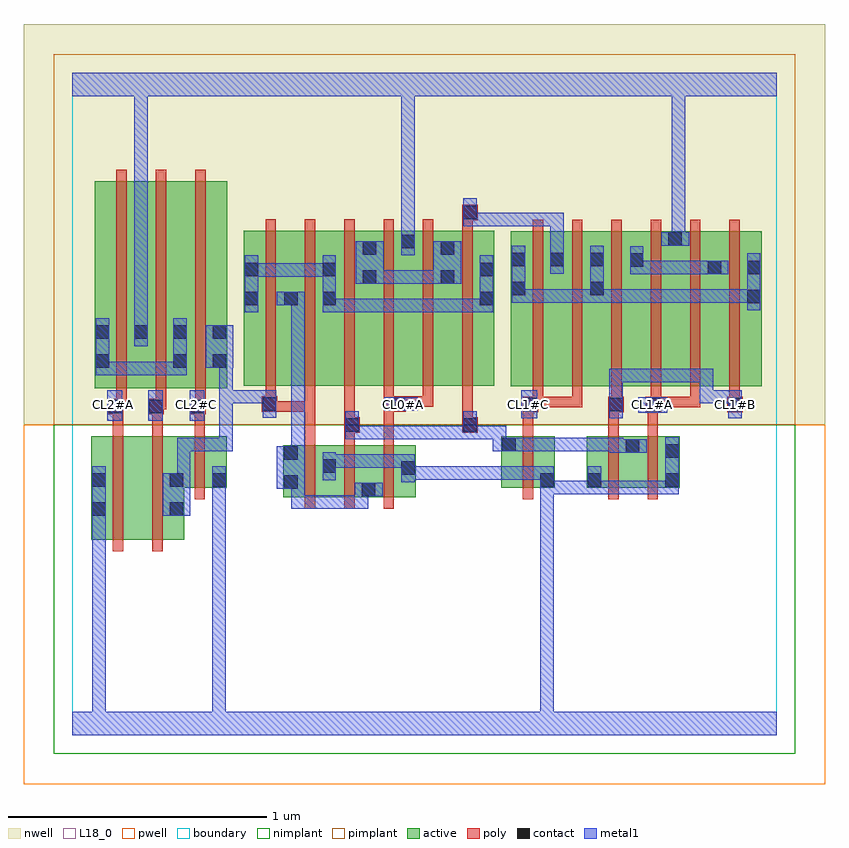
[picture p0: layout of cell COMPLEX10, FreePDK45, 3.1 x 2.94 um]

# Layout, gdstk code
import gdstk
lib = gdstk.Library(unit=1e-6, precision=1e-09)
def R(c, l, rs):  # rectangles x0, y0, x1, y1
    for r in rs: c.add(gdstk.rectangle(r[:2], r[2:], *l))
def A(c, l, x, y, w, h, nx, ny, dx, dy):  # array of equal rectangles
    R(c, l, [(x+i*dx, y+j*dy, x+i*dx+w, y+j*dy+h) for i in range(nx) for j in range(ny)])
active = (1, 0)
pwell = (2, 0)
nwell = (3, 0)
nimplant = (4, 0)
pimplant = (5, 0)
poly = (9, 0)
contact = (10, 0)
metal1 = (11, 0)
L18_0 = (18, 0)
boundary = (235, 0)

complex10 = lib.new_cell('COMPLEX10')
A(complex10, active, 0.234, 1.34, 0.06, 0.704, 3, 1, 0.152, 0)
R(complex10, active, [(0.072,0.756,0.132,1.156), (0.072,0.756,0.252,1.156), (0.252,0.756,0.432,1.156), (0.372,0.756,0.432,1.156), (0.814,0.92,0.874,1.12), (0.814,0.92,1.022,1.12), (0.962,0.92,1.174,1.12), (1.114,0.92,1.326,1.12), (1.114,0.92,1.174,0.98), (1.266,0.92,1.326,1.12), (0.372,0.956,0.596,1.156), (0.536,0.956,0.596,1.156), (0.962,0.956,1.022,1.12), (1.656,0.956,1.716,1.156), (1.656,0.956,1.864,1.156), (1.804,0.956,1.864,1.156), (1.986,0.956,2.046,1.156), (1.986,0.956,2.194,1.156), (2.134,0.956,2.194,1.156), (2.134,0.956,2.346,1.156), (2.286,0.956,2.346,1.156), (0.086,1.34,0.146,2.044), (0.086,1.34,0.294,2.14), (0.234,1.34,0.446,2.14), (0.386,1.34,0.598,2.14), (1.694,1.348,1.902,1.948), (1.694,1.348,1.754,1.868), (1.842,1.348,2.056,1.948), (1.842,1.348,1.902,1.868), (1.996,1.348,2.21,1.948), (1.996,1.348,2.056,1.868), (2.15,1.348,2.358,1.948), (2.15,1.348,2.21,1.866), (2.298,1.348,2.51,1.948), (2.45,1.348,2.662,1.948), (2.45,1.348,2.51,1.948), (2.602,1.348,2.662,1.844), (0.662,1.35,0.874,1.95), (0.662,1.35,0.722,1.95), (0.814,1.35,1.022,1.95), (0.814,1.35,0.874,1.844), (0.962,1.35,1.022,1.844), (0.962,1.35,1.178,1.95), (1.118,1.35,1.178,1.95), (1.118,1.35,1.326,1.95), (1.266,1.35,1.478,1.95), (1.418,1.35,1.63,1.95), (1.418,1.35,1.478,1.95), (1.57,1.35,1.63,1.844), (1.266,1.878,1.326,1.95), (2.298,1.886,2.358,1.948)])
R(complex10, pwell, [(-0.188,-0.188,2.908,1.2)])
R(complex10, nwell, [(-0.188,1.2,2.908,2.748)])
R(complex10, nimplant, [(-0.072,-0.072,2.792,1.2)])
R(complex10, pimplant, [(-0.072,1.2,2.792,2.632)])
A(complex10, poly, 0.898, 0.876, 0.04, 0.288, 3, 1, 0.152, 0)
A(complex10, poly, 0.17, 1.26, 0.04, 0.076, 3, 1, 0.152, 0)
A(complex10, poly, 1.778, 1.268, 0.04, 0.076, 6, 1, 0.152, 0)
A(complex10, poly, 0.17, 1.296, 0.04, 0.888, 3, 1, 0.152, 0)
A(complex10, poly, 1.778, 1.304, 0.04, 0.688, 6, 1, 0.152, 0)
A(complex10, poly, 0.746, 1.306, 0.04, 0.688, 6, 1, 0.152, 0)
R(complex10, poly, [(0.156,0.712,0.196,1.2), (0.308,0.712,0.348,1.2), (0.472,0.912,0.512,1.2), (1.74,0.912,1.78,1.2), (2.07,0.912,2.11,1.2), (2.222,0.912,2.262,1.2), (0.898,1.124,0.938,1.29), (1.05,1.124,1.09,1.208), (1.202,1.124,1.242,1.29), (0.156,1.16,0.196,1.28), (0.308,1.16,0.348,1.28), (0.472,1.16,0.512,1.28), (1.74,1.16,1.78,1.288), (2.07,1.16,2.11,1.288), (2.222,1.16,2.262,1.288), (1.05,1.168,1.11,1.228), (1.506,1.168,1.566,1.228), (1.05,1.188,1.09,1.228), (1.05,1.188,1.09,1.228), (1.05,1.188,1.09,1.346), (1.506,1.188,1.546,1.228), (1.506,1.188,1.546,1.228), (1.506,1.188,1.546,1.346), (0.136,1.24,0.196,1.3), (0.292,1.24,0.352,1.3), (0.454,1.24,0.514,1.3), (0.472,1.24,0.512,1.28), (0.472,1.24,0.512,1.28), (1.74,1.248,1.8,1.308), (2.07,1.248,2.13,1.308), (2.07,1.248,2.11,1.288), (2.07,1.248,2.11,1.288), (2.214,1.248,2.274,1.308), (2.53,1.248,2.59,1.308), (0.732,1.25,0.792,1.31), (0.752,1.25,0.792,1.29), (0.752,1.25,0.792,1.29), (0.752,1.25,0.938,1.29), (0.898,1.25,0.938,1.29), (0.898,1.25,0.938,1.29), (0.898,1.25,0.938,1.29), (0.898,1.25,0.938,1.346), (1.202,1.25,1.242,1.29), (1.202,1.25,1.242,1.29), (1.202,1.25,1.288,1.31), (0.156,1.26,0.196,1.3), (0.156,1.26,0.21,1.3), (0.312,1.26,0.352,1.3), (0.312,1.26,0.362,1.3), (1.76,1.268,1.8,1.308), (1.76,1.268,1.818,1.308), (1.778,1.268,1.97,1.308), (1.93,1.268,1.97,1.308), (1.93,1.268,1.97,1.308), (1.93,1.268,1.97,1.308), (2.234,1.268,2.274,1.308), (2.234,1.268,2.274,1.308), (2.234,1.268,2.426,1.308), (2.386,1.268,2.426,1.308), (2.386,1.268,2.426,1.308), (2.386,1.268,2.426,1.308), (0.746,1.27,0.786,1.346), (1.202,1.27,1.242,1.346), (1.248,1.27,1.288,1.31), (1.248,1.27,1.288,1.31), (1.248,1.27,1.394,1.31), (1.354,1.27,1.394,1.346), (1.354,1.27,1.394,1.31), (1.506,1.954,1.546,2.03), (1.506,1.99,1.566,2.05)])
A(complex10, contact, 0.238, 1.532, 0.052, 0.052, 3, 1, 0.152, 0)
R(complex10, contact, [(0.076,0.848,0.128,0.9), (0.376,0.848,0.428,0.9), (1.118,0.924,1.17,0.976), (0.818,0.952,0.87,1.004), (0.076,0.96,0.128,1.012), (0.376,0.96,0.428,1.012), (0.54,0.96,0.592,1.012), (1.808,0.96,1.86,1.012), (1.99,0.96,2.042,1.012), (2.29,0.96,2.342,1.012), (1.27,1.006,1.322,1.058), (0.966,1.014,1.018,1.066), (0.818,1.064,0.87,1.116), (2.29,1.072,2.342,1.124), (2.138,1.092,2.19,1.144), (1.66,1.098,1.712,1.15), (1.054,1.172,1.106,1.224), (1.51,1.172,1.562,1.224), (0.14,1.244,0.192,1.296), (0.296,1.244,0.348,1.296), (0.458,1.244,0.51,1.296), (1.744,1.252,1.796,1.304), (2.074,1.252,2.126,1.304), (2.218,1.252,2.27,1.304), (2.534,1.252,2.586,1.304), (0.736,1.254,0.788,1.306), (1.232,1.254,1.284,1.306), (0.09,1.42,0.142,1.472), (0.39,1.42,0.442,1.472), (0.542,1.42,0.594,1.472), (0.09,1.532,0.142,1.584), (0.666,1.662,0.718,1.714), (0.818,1.662,0.87,1.714), (0.966,1.662,1.018,1.714), (1.574,1.662,1.626,1.714), (2.606,1.67,2.658,1.722), (1.698,1.7,1.75,1.752), (2,1.7,2.052,1.752), (1.122,1.744,1.174,1.796), (1.422,1.744,1.474,1.796), (0.666,1.774,0.718,1.826), (0.966,1.774,1.018,1.826), (1.574,1.774,1.626,1.826), (2.454,1.782,2.506,1.834), (2.606,1.782,2.658,1.834), (2.154,1.81,2.206,1.862), (1.698,1.812,1.75,1.864), (1.846,1.812,1.898,1.864), (2,1.812,2.052,1.864), (1.122,1.856,1.174,1.908), (1.422,1.856,1.474,1.908), (1.27,1.882,1.322,1.934), (2.302,1.892,2.354,1.944), (1.51,1.994,1.562,2.046)])
R(complex10, metal1, [(0,0,2.72,0.092), (0.076,0.04,0.128,0.092), (0.076,0.04,0.128,0.092), (0.076,0.04,0.128,0.092), (0.076,0.04,0.128,0.092), (0.076,0.04,0.128,0.092), (0.076,0.04,0.128,0.092), (0.076,0.04,0.128,0.872), (0.54,0.04,0.592,0.092), (0.54,0.04,0.592,0.092), (0.54,0.04,0.592,0.092), (0.54,0.04,0.592,0.092), (0.54,0.04,0.592,0.092), (0.54,0.04,0.592,0.092), (0.54,0.04,0.592,0.092), (0.54,0.04,0.592,0.092), (0.54,0.04,0.592,0.092), (0.54,0.04,0.592,0.092), (0.54,0.04,0.592,0.092), (0.54,0.04,0.592,0.092), (0.54,0.04,0.592,0.092), (0.54,0.04,0.592,0.092), (0.54,0.04,0.592,0.092), (0.54,0.04,0.592,0.092), (0.54,0.04,0.592,0.984), (1.808,0.04,1.86,0.092), (1.808,0.04,1.86,0.092), (1.808,0.04,1.86,0.984), (0.076,0.82,0.128,0.872), (0.076,0.82,0.128,0.872), (0.076,0.82,0.128,0.872), (0.076,0.82,0.128,0.872), (0.076,0.82,0.128,0.872), (0.076,0.82,0.128,0.872), (0.076,0.82,0.128,1.04), (0.348,0.848,0.456,1.012), (0.846,0.876,0.898,0.928), (0.846,0.876,0.898,0.928), (0.846,0.876,0.898,0.928), (0.846,0.876,1.032,0.928), (0.846,0.876,0.898,1.004), (0.98,0.876,1.032,0.928), (0.98,0.876,1.142,0.928), (1.09,0.876,1.142,0.976), (1.09,0.924,1.142,0.976), (1.09,0.924,1.198,0.976), (0.54,0.932,0.592,1.04), (1.808,0.932,1.86,0.984), (1.808,0.932,1.86,0.984), (1.808,0.932,1.86,0.984), (1.808,0.932,1.86,0.984), (1.808,0.932,1.86,0.984), (1.808,0.932,1.86,0.984), (1.808,0.932,1.86,0.984), (1.808,0.932,1.86,0.984), (1.808,0.932,1.86,0.984), (1.808,0.932,1.86,0.984), (1.808,0.932,1.86,0.984), (1.808,0.932,1.86,0.984), (1.808,0.932,1.86,0.984), (1.808,0.932,1.86,0.984), (1.808,0.932,1.86,1.04), (1.808,0.932,1.932,0.984), (1.88,0.932,1.932,0.984), (1.88,0.932,2.042,0.984), (1.99,0.932,2.042,0.984), (1.99,0.932,2.042,0.984), (1.99,0.932,2.042,1.04), (1.99,0.932,2.162,0.984), (2.11,0.932,2.162,0.984), (2.11,0.932,2.342,0.984), (2.29,0.932,2.342,0.984), (2.29,0.932,2.342,0.984), (2.29,0.932,2.342,1.152), (0.79,0.952,0.898,1.116), (0.404,0.96,0.456,1.15), (1.27,0.978,1.322,1.086), (0.966,0.986,1.018,1.094), (1.27,0.988,1.452,1.04), (1.4,0.988,1.452,1.04), (1.4,0.988,1.452,1.04), (1.4,0.988,1.452,1.04), (1.4,0.988,1.566,1.04), (1.514,0.988,1.566,1.04), (1.514,0.988,1.566,1.04), (1.514,0.988,1.566,1.04), (1.514,0.988,1.566,1.04), (1.514,0.988,1.566,1.04), (1.514,0.988,1.75,1.04), (1.698,0.988,1.75,1.04), (1.698,0.988,1.75,1.04), (1.698,0.988,1.75,1.04), (1.698,0.988,1.86,1.04), (0.966,1.034,1.018,1.086), (0.966,1.034,1.018,1.086), (0.966,1.034,1.212,1.086), (1.16,1.034,1.212,1.086), (1.16,1.034,1.322,1.086), (1.27,1.034,1.322,1.086), (1.27,1.034,1.322,1.086), (0.846,1.064,0.898,1.116), (0.846,1.064,0.898,1.116), (0.846,1.064,0.898,1.714), (2.076,1.092,2.162,1.144), (2.076,1.092,2.128,1.15), (2.11,1.092,2.218,1.144), (0.404,1.098,0.456,1.15), (0.404,1.098,0.51,1.15), (0.458,1.098,0.51,1.15), (0.458,1.098,0.62,1.15), (0.568,1.098,0.62,1.15), (0.568,1.098,0.62,1.334), (1.624,1.098,1.676,1.196), (1.624,1.098,1.74,1.15), (1.688,1.098,1.74,1.15), (1.688,1.098,1.74,1.15), (1.688,1.098,1.932,1.15), (1.88,1.098,1.932,1.15), (1.88,1.098,1.932,1.15), (1.88,1.098,1.932,1.15), (1.88,1.098,2.052,1.15), (2,1.098,2.052,1.15), (2,1.098,2.128,1.15), (1.054,1.144,1.106,1.252), (1.054,1.144,1.142,1.196), (1.09,1.144,1.142,1.196), (1.09,1.144,1.322,1.196), (1.27,1.144,1.322,1.196), (1.27,1.144,1.322,1.196), (1.27,1.144,1.322,1.196), (1.27,1.144,1.432,1.196), (1.38,1.144,1.432,1.196), (1.38,1.144,1.432,1.196), (1.38,1.144,1.432,1.196), (1.38,1.144,1.562,1.196), (1.51,1.144,1.562,1.196), (1.51,1.144,1.562,1.196), (1.51,1.144,1.562,1.252), (1.51,1.144,1.676,1.196), (1.624,1.144,1.676,1.196), (0.134,1.216,0.192,1.334), (0.292,1.216,0.348,1.334), (0.454,1.216,0.51,1.334), (1.734,1.224,1.796,1.334), (2.074,1.224,2.126,1.416), (2.534,1.224,2.586,1.334), (0.736,1.226,0.788,1.334), (2.186,1.246,2.298,1.306), (1.204,1.254,1.334,1.306), (0.568,1.282,0.62,1.334), (0.568,1.282,0.62,1.334), (0.568,1.282,0.62,1.334), (0.568,1.282,0.788,1.334), (0.568,1.282,0.62,1.472), (2.424,1.282,2.586,1.334), (2.424,1.282,2.476,1.416), (2.074,1.364,2.162,1.416), (2.11,1.364,2.162,1.416), (2.11,1.364,2.366,1.416), (2.314,1.364,2.366,1.416), (2.314,1.364,2.366,1.416), (2.314,1.364,2.366,1.416), (2.314,1.364,2.476,1.416), (2.424,1.364,2.476,1.416), (2.424,1.364,2.476,1.416), (0.09,1.392,0.142,1.444), (0.09,1.392,0.142,1.444), (0.09,1.392,0.142,1.612), (0.09,1.392,0.29,1.444), (0.238,1.392,0.29,1.444), (0.238,1.392,0.29,1.444), (0.238,1.392,0.29,1.444), (0.238,1.392,0.442,1.444), (0.39,1.392,0.442,1.612), (0.514,1.42,0.622,1.584), (0.238,1.504,0.29,1.612), (0.238,1.56,0.29,1.612), (0.238,1.56,0.29,1.612), (0.238,1.56,0.29,1.612), (0.238,1.56,0.29,1.612), (0.238,1.56,0.29,2.52), (0.666,1.634,0.718,1.854), (0.966,1.634,1.018,1.686), (0.966,1.634,1.018,1.686), (0.966,1.634,1.018,1.686), (0.966,1.634,1.018,1.686), (0.966,1.634,1.018,1.854), (0.966,1.634,1.212,1.686), (1.16,1.634,1.212,1.686), (1.16,1.634,1.322,1.686), (1.27,1.634,1.322,1.686), (1.27,1.634,1.322,1.686), (1.27,1.634,1.322,1.686), (1.27,1.634,1.452,1.686), (1.4,1.634,1.452,1.686), (1.4,1.634,1.452,1.686), (1.4,1.634,1.452,1.686), (1.4,1.634,1.566,1.686), (1.514,1.634,1.566,1.686), (1.514,1.634,1.626,1.686), (1.574,1.634,1.626,1.854), (2.606,1.642,2.658,1.862), (0.79,1.662,0.898,1.714), (0.846,1.662,0.898,1.714), (0.846,1.662,0.898,1.714), (1.698,1.672,1.75,1.724), (1.698,1.672,1.75,1.724), (1.698,1.672,1.75,1.892), (1.698,1.672,1.86,1.724), (1.808,1.672,1.86,1.724), (1.808,1.672,1.86,1.724), (1.808,1.672,1.86,1.724), (1.808,1.672,2.052,1.724), (2,1.672,2.052,1.724), (2,1.672,2.052,1.724), (2,1.672,2.052,1.892), (2,1.672,2.162,1.724), (2.11,1.672,2.162,1.724), (2.11,1.672,2.238,1.724), (2.186,1.672,2.238,1.724), (2.186,1.672,2.366,1.724), (2.314,1.672,2.366,1.724), (2.314,1.672,2.476,1.724), (2.424,1.672,2.476,1.724), (2.424,1.672,2.476,1.724), (2.424,1.672,2.476,1.724), (2.424,1.672,2.658,1.724), (2.606,1.672,2.658,1.724), (2.606,1.672,2.658,1.724), (1.094,1.744,1.202,1.908), (1.15,1.744,1.322,1.796), (1.27,1.744,1.322,1.796), (1.27,1.744,1.322,1.796), (1.27,1.744,1.322,1.796), (1.27,1.744,1.432,1.796), (1.38,1.744,1.432,1.796), (1.38,1.744,1.446,1.796), (1.394,1.744,1.502,1.908), (0.666,1.772,0.732,1.824), (0.68,1.772,0.732,1.824), (0.68,1.772,0.898,1.824), (0.846,1.772,0.898,1.824), (0.846,1.772,0.898,1.824), (0.846,1.772,0.898,1.824), (0.846,1.772,1.018,1.824), (2.154,1.782,2.366,1.834), (2.154,1.782,2.206,1.89), (2.314,1.782,2.366,1.834), (2.314,1.782,2.366,1.834), (2.314,1.782,2.366,1.834), (2.314,1.782,2.476,1.834), (2.424,1.782,2.476,1.834), (2.424,1.782,2.478,1.834), (2.426,1.782,2.534,1.834), (1.846,1.784,1.898,1.892), (1.846,1.84,1.898,2.018), (1.27,1.854,1.322,1.962), (2.274,1.892,2.382,1.944), (2.316,1.892,2.368,2.52), (1.27,1.91,1.322,1.962), (1.27,1.91,1.322,1.962), (1.27,1.91,1.322,1.962), (1.27,1.91,1.322,1.962), (1.27,1.91,1.322,1.962), (1.27,1.91,1.322,1.962), (1.27,1.91,1.322,1.962), (1.27,1.91,1.322,1.962), (1.27,1.91,1.322,1.962), (1.27,1.91,1.322,1.962), (1.27,1.91,1.322,1.962), (1.27,1.91,1.322,1.962), (1.27,1.91,1.322,2.52), (1.51,1.966,1.562,2.018), (1.51,1.966,1.562,2.018), (1.51,1.966,1.562,2.074), (1.51,1.966,1.75,2.018), (1.698,1.966,1.75,2.018), (1.698,1.966,1.75,2.018), (1.698,1.966,1.75,2.018), (1.698,1.966,1.898,2.018), (1.846,1.966,1.898,2.018), (0,2.468,2.72,2.56), (0.238,2.468,0.29,2.52), (0.238,2.468,0.29,2.52), (0.238,2.468,0.29,2.52), (0.238,2.468,0.29,2.52), (2.316,2.468,2.368,2.52), (2.316,2.468,2.368,2.52), (2.316,2.468,2.368,2.52), (2.316,2.468,2.368,2.52), (2.316,2.468,2.368,2.52), (2.316,2.468,2.368,2.52), (2.316,2.468,2.368,2.52), (2.316,2.468,2.368,2.52), (2.316,2.468,2.368,2.52), (2.316,2.468,2.368,2.52), (2.316,2.468,2.368,2.52), (2.316,2.468,2.368,2.52)])
A(complex10, L18_0, 0.134, 1.254, 0.052, 0.052, 3, 1, 0.16, 0)
A(complex10, L18_0, 1.254, 1.254, 0.052, 0.052, 3, 1, 0.48, 0)
R(complex10, L18_0, [(0,0,2.72,0.092), (0.076,0.04,0.128,0.092), (0.076,0.04,0.128,0.092), (0.076,0.04,0.128,0.092), (0.076,0.04,0.128,0.092), (0.076,0.04,0.128,0.092), (0.076,0.04,0.128,0.092), (0.076,0.04,0.128,0.872), (0.54,0.04,0.592,0.092), (0.54,0.04,0.592,0.092), (0.54,0.04,0.592,0.092), (0.54,0.04,0.592,0.092), (0.54,0.04,0.592,0.092), (0.54,0.04,0.592,0.092), (0.54,0.04,0.592,0.092), (0.54,0.04,0.592,0.092), (0.54,0.04,0.592,0.092), (0.54,0.04,0.592,0.092), (0.54,0.04,0.592,0.092), (0.54,0.04,0.592,0.092), (0.54,0.04,0.592,0.092), (0.54,0.04,0.592,0.092), (0.54,0.04,0.592,0.092), (0.54,0.04,0.592,0.092), (0.54,0.04,0.592,0.984), (1.808,0.04,1.86,0.092), (1.808,0.04,1.86,0.092), (1.808,0.04,1.86,0.984), (0.076,0.82,0.128,0.872), (0.076,0.82,0.128,0.872), (0.076,0.82,0.128,0.872), (0.076,0.82,0.128,0.872), (0.076,0.82,0.128,0.872), (0.076,0.82,0.128,0.872), (0.076,0.82,0.128,1.04), (0.54,0.932,0.592,1.04), (1.808,0.932,1.86,0.984), (1.808,0.932,1.86,0.984), (1.808,0.932,1.86,0.984), (1.808,0.932,1.86,0.984), (1.808,0.932,1.86,0.984), (1.808,0.932,1.86,0.984), (1.808,0.932,1.86,0.984), (1.808,0.932,1.86,0.984), (1.808,0.932,1.86,0.984), (1.808,0.932,1.86,0.984), (1.808,0.932,1.86,0.984), (1.808,0.932,1.86,0.984), (1.808,0.932,1.86,0.984), (1.808,0.932,1.86,0.984), (1.808,0.932,1.86,1.04), (1.808,0.932,1.932,0.984), (1.88,0.932,1.932,0.984), (1.88,0.932,2.042,0.984), (1.99,0.932,2.042,0.984), (1.99,0.932,2.042,0.984), (1.99,0.932,2.042,1.04), (1.99,0.932,2.162,0.984), (2.11,0.932,2.162,0.984), (2.11,0.932,2.342,0.984), (2.29,0.932,2.342,0.984), (2.29,0.932,2.342,0.984), (2.29,0.932,2.342,1.152), (1.27,0.978,1.322,1.086), (0.966,0.986,1.018,1.094), (1.27,0.988,1.452,1.04), (1.4,0.988,1.452,1.04), (1.4,0.988,1.452,1.04), (1.4,0.988,1.452,1.04), (1.4,0.988,1.566,1.04), (1.514,0.988,1.566,1.04), (1.514,0.988,1.566,1.04), (1.514,0.988,1.566,1.04), (1.514,0.988,1.566,1.04), (1.514,0.988,1.566,1.04), (1.514,0.988,1.75,1.04), (1.698,0.988,1.75,1.04), (1.698,0.988,1.75,1.04), (1.698,0.988,1.75,1.04), (1.698,0.988,1.86,1.04), (0.966,1.034,1.018,1.086), (0.966,1.034,1.018,1.086), (0.966,1.034,1.212,1.086), (1.16,1.034,1.212,1.086), (1.16,1.034,1.322,1.086), (1.27,1.034,1.322,1.086), (1.27,1.034,1.322,1.086), (0.134,1.216,0.192,1.334), (0.292,1.216,0.348,1.334), (0.454,1.216,0.51,1.334), (1.734,1.224,1.796,1.334), (2.074,1.224,2.126,1.416), (2.534,1.224,2.586,1.334), (2.186,1.246,2.298,1.306), (1.204,1.254,1.334,1.306), (2.534,1.254,2.586,1.306), (2.424,1.282,2.586,1.334), (2.424,1.282,2.476,1.416), (2.074,1.364,2.162,1.416), (2.11,1.364,2.162,1.416), (2.11,1.364,2.366,1.416), (2.314,1.364,2.366,1.416), (2.314,1.364,2.366,1.416), (2.314,1.364,2.366,1.416), (2.314,1.364,2.476,1.416), (2.424,1.364,2.476,1.416), (2.424,1.364,2.476,1.416), (0.238,1.504,0.29,1.612), (0.238,1.56,0.29,1.612), (0.238,1.56,0.29,1.612), (0.238,1.56,0.29,1.612), (0.238,1.56,0.29,1.612), (0.238,1.56,0.29,2.52), (1.27,1.854,1.322,1.962), (2.274,1.892,2.382,1.944), (2.316,1.892,2.368,2.52), (1.27,1.91,1.322,1.962), (1.27,1.91,1.322,1.962), (1.27,1.91,1.322,1.962), (1.27,1.91,1.322,1.962), (1.27,1.91,1.322,1.962), (1.27,1.91,1.322,1.962), (1.27,1.91,1.322,1.962), (1.27,1.91,1.322,1.962), (1.27,1.91,1.322,1.962), (1.27,1.91,1.322,1.962), (1.27,1.91,1.322,1.962), (1.27,1.91,1.322,1.962), (1.27,1.91,1.322,2.52), (0,2.468,2.72,2.56), (0.238,2.468,0.29,2.52), (0.238,2.468,0.29,2.52), (0.238,2.468,0.29,2.52), (0.238,2.468,0.29,2.52), (2.316,2.468,2.368,2.52), (2.316,2.468,2.368,2.52), (2.316,2.468,2.368,2.52), (2.316,2.468,2.368,2.52), (2.316,2.468,2.368,2.52), (2.316,2.468,2.368,2.52), (2.316,2.468,2.368,2.52), (2.316,2.468,2.368,2.52), (2.316,2.468,2.368,2.52), (2.316,2.468,2.368,2.52), (2.316,2.468,2.368,2.52), (2.316,2.468,2.368,2.52)])
R(complex10, boundary, [(0,0,2.72,2.56)])
complex10.add(gdstk.Label('CL0#A', (1.28,1.28), layer=11, texttype=0))
complex10.add(gdstk.Label('CL1#A', (2.24,1.28), layer=11, texttype=0))
complex10.add(gdstk.Label('CL1#B', (2.56,1.28), layer=11, texttype=0))
complex10.add(gdstk.Label('CL1#C', (1.76,1.28), layer=11, texttype=0))
complex10.add(gdstk.Label('CL2#A', (0.16,1.28), layer=11, texttype=0))
complex10.add(gdstk.Label('CL2#B', (0.32,1.28), layer=11, texttype=0))
complex10.add(gdstk.Label('CL2#C', (0.48,1.28), layer=11, texttype=0))

lib.write_gds('COMPLEX10.gds')
